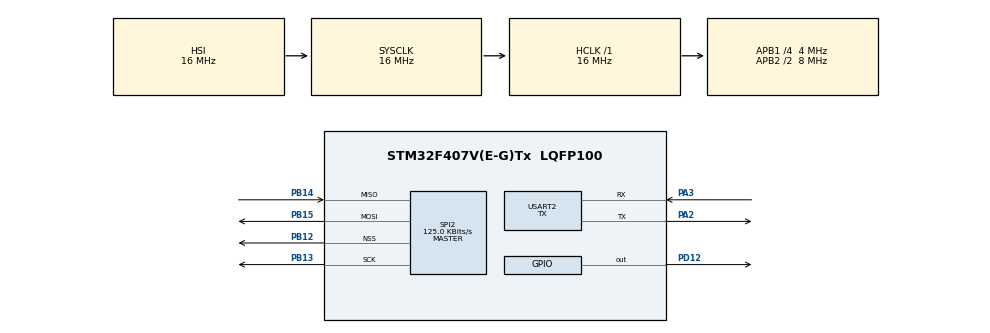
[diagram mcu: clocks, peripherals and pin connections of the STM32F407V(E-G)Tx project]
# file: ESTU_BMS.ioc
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Mcu.Family=STM32F4
Mcu.Name=STM32F407V(E-G)Tx
Mcu.Package=LQFP100
NVIC.PriorityGroup=NVIC_PRIORITYGROUP_4
NVIC.TIM2_IRQn=true\:15\:0\:true\:false\:true\:true\:true
PA13.Mode=Serial_Wire
PA13.Signal=SYS_JTMS-SWDIO
PA14.Mode=Serial_Wire
PA14.Signal=SYS_JTCK-SWCLK
PA2.Mode=Asynchronous
PA2.Signal=USART2_TX
PA3.Mode=Asynchronous
PA3.Signal=USART2_RX
PB12.Mode=NSS_Signal_Hard_Output
PB12.Signal=SPI2_NSS
PB13.Mode=Full_Duplex_Master
PB13.Signal=SPI2_SCK
PB14.Mode=Full_Duplex_Master
PB14.Signal=SPI2_MISO
PB15.Mode=Full_Duplex_Master
PB15.Signal=SPI2_MOSI
PD12.Signal=GPIO_Output
ProjectManager.HeapSize=0x200
ProjectManager.StackSize=0x400
ProjectManager.TargetToolchain=STM32CubeIDE
RCC.48MHZClocksFreq_Value=14285714.285714285
RCC.AHBFreq_Value=16000000
RCC.APB1CLKDivider=RCC_HCLK_DIV4
RCC.APB1Freq_Value=4000000
RCC.APB1TimFreq_Value=8000000
RCC.APB2CLKDivider=RCC_HCLK_DIV2
RCC.APB2Freq_Value=8000000
RCC.APB2TimFreq_Value=16000000
RCC.CortexFreq_Value=16000000
RCC.HCLKFreq_Value=16000000
RCC.HSE_VALUE=8000000
RCC.HSI_VALUE=16000000
RCC.LSE_VALUE=32768
RCC.PLLM=8
RCC.PLLN=50
RCC.PLLP=RCC_PLLP_DIV4
RCC.PLLQ=7
RCC.SYSCLKFreq_VALUE=16000000
RCC.VCOOutputFreq_Value=100000000
SPI2.BaudRatePrescaler=SPI_BAUDRATEPRESCALER_32
SPI2.CalculateBaudRate=125.0 KBits/s
SPI2.Direction=SPI_DIRECTION_2LINES
SPI2.Mode=SPI_MODE_MASTER
SPI2.TIMode=SPI_TIMODE_DISABLE
SPI2.VirtualNSS=VM_NSSHARD
SPI2.VirtualType=VM_MASTER
TIM2.Period=50000
TIM2.Prescaler=499
TIM2.TIM_MasterOutputTrigger=TIM_TRGO_UPDATE
USART2.Mode=MODE_TX
USART2.VirtualMode=VM_ASYNC
VP_TIM2_VS_ClockSourceINT.Mode=Internal
board=STM32F407G-DISC1

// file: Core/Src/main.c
/* USER CODE BEGIN Header */
/**
  ******************************************************************************
  * @file           : main.c
  * @brief          : Main program body
  ******************************************************************************
  * @attention
  *
  * <h2><center>&copy; Copyright (c) 2020 STMicroelectronics.
  * All rights reserved.</center></h2>
  *
  * This software component is licensed by ST under BSD 3-Clause license,
  * the "License"; You may not use this file except in compliance with the
  * License. You may obtain a copy of the License at:
  *                        opensource.org/licenses/BSD-3-Clause
  *
  ******************************************************************************
  */
/* USER CODE END Header */

#include "main.h"

/* USER CODE BEGIN Includes */
#include <stdio.h>
#include <string.h>
/* USER CODE END Includes */

SPI_HandleTypeDef hspi2;

TIM_HandleTypeDef htim2;

UART_HandleTypeDef huart2;

/* USER CODE BEGIN PV */
uint8_t spi_begin = RESET;
char send_data[] = "send cell voltage";
uint16_t rx_data_size;
uint16_t ADC_Value[6];
float Voltage[6];
char UART_Data[100];
uint8_t rx_data[10];
/* USER CODE END PV */

void SystemClock_Config(void);
static void MX_GPIO_Init(void);
static void MX_SPI2_Init(void);
static void MX_TIM2_Init(void);
static void MX_USART2_UART_Init(void);
/* USER CODE BEGIN PFP */
void floattochar(float var);
/* USER CODE END PFP */

int main(void)
{

  /* MCU Configuration--------------------------------------------------------*/

  /* Reset of all peripherals, Initializes the Flash interface and the Systick. */
  HAL_Init();

  /* Configure the system clock */
  SystemClock_Config();

  /* Initialize all configured peripherals */
  MX_GPIO_Init();
  MX_SPI2_Init();
  MX_TIM2_Init();
  MX_USART2_UART_Init();
  /* USER CODE BEGIN 2 */
  HAL_TIM_Base_Start_IT(&htim2);

  /* USER CODE END 2 */

  /* Infinite loop */
  /* USER CODE BEGIN WHILE */
  while (1)
  {
	  while(!spi_begin);
	  if(HAL_SPI_Receive(&hspi2, (uint8_t*)ADC_Value, 6, HAL_MAX_DELAY) != HAL_OK)
	  {
		  Error_Handler();
	  }

	  for(int i=0; i<6; i++)
	  {
		  Voltage[i] = (5.00/1024)*(float)ADC_Value[i];
	  }

	  int counter =0;
	  for(int i=0; i<6; i++)
	  {
		  char buf[5];
		  gcvt(Voltage[i],4,buf);
		  for(int k=0; k<5;k++)
		  {
			  UART_Data[counter] = buf[k];
			  counter++;
		  }
		  if(i == 5)
		  {
			  UART_Data[counter] = '\n';
		  }
		  else
		  {
			  UART_Data[counter] = ',';
			  counter ++;
		  }
	  }
	  if(HAL_UART_Transmit(&huart2, (uint8_t*)UART_Data, strlen(UART_Data), HAL_MAX_DELAY)!= HAL_OK)
	  {
		  while(1);
	  }

	  /*
	  if(HAL_SPI_Receive(&hspi2, (uint8_t*)&rx_data_size, 1, HAL_MAX_DELAY) != HAL_OK)
	  {
		  while(1);
	  }

	  if(HAL_SPI_Receive(&hspi2, rx_data, 6, HAL_MAX_DELAY) != HAL_OK)
	  {
		  while(1);
	  }

	  if(HAL_UART_Transmit(&huart2, rx_data, sizeof(rx_data), HAL_MAX_DELAY)!= HAL_OK)
	  {
		  while(1);
	  }
	  */
	  spi_begin = RESET;
    /* USER CODE END WHILE */

  }
}

void SystemClock_Config(void)
{
  RCC_OscInitTypeDef RCC_OscInitStruct = {0};
  RCC_ClkInitTypeDef RCC_ClkInitStruct = {0};

  /** Configure the main internal regulator output voltage
  */
  __HAL_RCC_PWR_CLK_ENABLE();
  __HAL_PWR_VOLTAGESCALING_CONFIG(PWR_REGULATOR_VOLTAGE_SCALE1);
  /** Initializes the CPU, AHB and APB busses clocks
  */
  RCC_OscInitStruct.OscillatorType = RCC_OSCILLATORTYPE_HSI;
  RCC_OscInitStruct.HSIState = RCC_HSI_ON;
  RCC_OscInitStruct.HSICalibrationValue = RCC_HSICALIBRATION_DEFAULT;
  RCC_OscInitStruct.PLL.PLLState = RCC_PLL_NONE;
  if (HAL_RCC_OscConfig(&RCC_OscInitStruct) != HAL_OK)
  {
    Error_Handler();
  }
  /** Initializes the CPU, AHB and APB busses clocks
  */
  RCC_ClkInitStruct.ClockType = RCC_CLOCKTYPE_HCLK|RCC_CLOCKTYPE_SYSCLK
                              |RCC_CLOCKTYPE_PCLK1|RCC_CLOCKTYPE_PCLK2;
  RCC_ClkInitStruct.SYSCLKSource = RCC_SYSCLKSOURCE_HSI;
  RCC_ClkInitStruct.AHBCLKDivider = RCC_SYSCLK_DIV1;
  RCC_ClkInitStruct.APB1CLKDivider = RCC_HCLK_DIV4;
  RCC_ClkInitStruct.APB2CLKDivider = RCC_HCLK_DIV2;

  if (HAL_RCC_ClockConfig(&RCC_ClkInitStruct, FLASH_LATENCY_0) != HAL_OK)
  {
    Error_Handler();
  }
}

static void MX_SPI2_Init(void)
{

  /* SPI2 parameter configuration*/
  hspi2.Instance = SPI2;
  hspi2.Init.Mode = SPI_MODE_MASTER;
  hspi2.Init.Direction = SPI_DIRECTION_2LINES;
  hspi2.Init.DataSize = SPI_DATASIZE_16BIT;
  hspi2.Init.CLKPolarity = SPI_POLARITY_LOW;
  hspi2.Init.CLKPhase = SPI_PHASE_1EDGE;
  hspi2.Init.NSS = SPI_NSS_HARD_OUTPUT;
  hspi2.Init.BaudRatePrescaler = SPI_BAUDRATEPRESCALER_8;
  hspi2.Init.FirstBit = SPI_FIRSTBIT_MSB;
  hspi2.Init.TIMode = SPI_TIMODE_DISABLE;
  hspi2.Init.CRCCalculation = SPI_CRCCALCULATION_DISABLE;
  hspi2.Init.CRCPolynomial = 10;
  if (HAL_SPI_Init(&hspi2) != HAL_OK)
  {
    Error_Handler();
  }

}

static void MX_TIM2_Init(void)
{

  TIM_ClockConfigTypeDef sClockSourceConfig = {0};
  TIM_MasterConfigTypeDef sMasterConfig = {0};

  htim2.Instance = TIM2;
  htim2.Init.Prescaler = 249;
  htim2.Init.CounterMode = TIM_COUNTERMODE_UP;
  htim2.Init.Period = 64000;
  htim2.Init.ClockDivision = TIM_CLOCKDIVISION_DIV1;
  htim2.Init.AutoReloadPreload = TIM_AUTORELOAD_PRELOAD_DISABLE;
  if (HAL_TIM_Base_Init(&htim2) != HAL_OK)
  {
    Error_Handler();
  }
  sClockSourceConfig.ClockSource = TIM_CLOCKSOURCE_INTERNAL;
  if (HAL_TIM_ConfigClockSource(&htim2, &sClockSourceConfig) != HAL_OK)
  {
    Error_Handler();
  }
  sMasterConfig.MasterOutputTrigger = TIM_TRGO_UPDATE;
  sMasterConfig.MasterSlaveMode = TIM_MASTERSLAVEMODE_DISABLE;
  if (HAL_TIMEx_MasterConfigSynchronization(&htim2, &sMasterConfig) != HAL_OK)
  {
    Error_Handler();
  }

}

static void MX_USART2_UART_Init(void)
{

  huart2.Instance = USART2;
  huart2.Init.BaudRate = 115200;
  huart2.Init.WordLength = UART_WORDLENGTH_8B;
  huart2.Init.StopBits = UART_STOPBITS_1;
  huart2.Init.Parity = UART_PARITY_NONE;
  huart2.Init.Mode = UART_MODE_TX;
  huart2.Init.HwFlowCtl = UART_HWCONTROL_NONE;
  huart2.Init.OverSampling = UART_OVERSAMPLING_16;
  if (HAL_UART_Init(&huart2) != HAL_OK)
  {
    Error_Handler();
  }

}

static void MX_GPIO_Init(void)
{
  GPIO_InitTypeDef GPIO_InitStruct = {0};

  /* GPIO Ports Clock Enable */
  __HAL_RCC_GPIOA_CLK_ENABLE();
  __HAL_RCC_GPIOB_CLK_ENABLE();
  __HAL_RCC_GPIOD_CLK_ENABLE();

  /*Configure GPIO pin Output Level */
  HAL_GPIO_WritePin(GPIOD, GPIO_PIN_12, GPIO_PIN_RESET);

  /*Configure GPIO pin : PD12 */
  GPIO_InitStruct.Pin = GPIO_PIN_12;
  GPIO_InitStruct.Mode = GPIO_MODE_OUTPUT_PP;
  GPIO_InitStruct.Pull = GPIO_NOPULL;
  GPIO_InitStruct.Speed = GPIO_SPEED_FREQ_LOW;
  HAL_GPIO_Init(GPIOD, &GPIO_InitStruct);

}

/* USER CODE BEGIN 4 */
/**
  * @brief  Period elapsed callback in non-blocking mode
  * @param  htim TIM handle
  * @retval None
  */
void HAL_TIM_PeriodElapsedCallback(TIM_HandleTypeDef *htim)
{
	HAL_GPIO_TogglePin(GPIOD, GPIO_PIN_12);
	spi_begin = SET;
}

/* USER CODE END 4 */

void Error_Handler(void)
{
}

/************************ (C) COPYRIGHT STMicroelectronics *****END OF FILE****/
